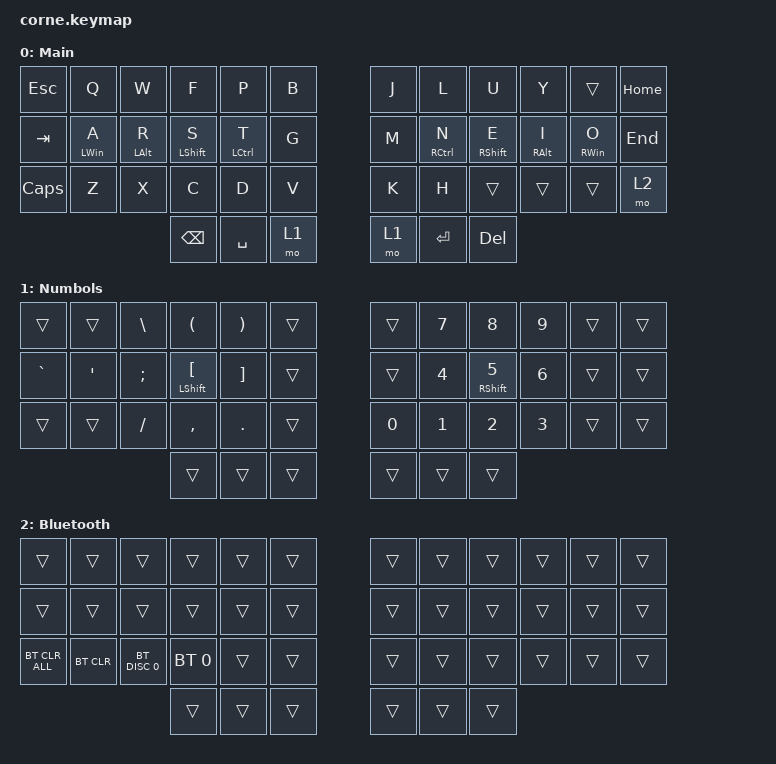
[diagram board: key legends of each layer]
/*
 * Copyright (c) 2020 The ZMK Contributors
 *
 * SPDX-License-Identifier: MIT
 */

#include <behaviors.dtsi>
#include <dt-bindings/zmk/bt.h>
#include <dt-bindings/zmk/keys.h>

/ {
    behaviors {
        hml: hml {
            compatible = "zmk,behavior-hold-tap";
            label = "HML";
            bindings = <&kp>, <&kp>;

            #binding-cells = <2>;
            flavor = "balanced";
            tapping-term-ms = <280>;
            quick-tap-ms = <175>;
            require-prior-idle-ms = <150>;
            hold-trigger-on-release;
            hold-trigger-key-positions = <36 37 38 39 40 41 5 17 29 28 16 4 3 15 27 26 14 2 1 13 25 24 12 0>;
        };

        hmr: hmr {
            compatible = "zmk,behavior-hold-tap";
            label = "HMR";
            bindings = <&kp>, <&kp>;

            #binding-cells = <2>;
            tapping-term-ms = <280>;
            quick-tap-ms = <175>;
            require-prior-idle-ms = <150>;
            flavor = "balanced";
            hold-trigger-on-release;
            hold-trigger-key-positions = <36 37 38 39 40 41 6 18 30 31 19 7 8 20 32 33 21 9 10 22 34 35 23 11>;
        };
    };

    keymap {
        compatible = "zmk,keymap";

        Main {
            // -----------------------------------------------------------------------------------------
            // |  TAB |  Q  |  W  |  E  |  R  |  T  |   |  Y  |  U   |  I  |  O  |  P  | BKSP |
            // | CTRL |  A  |  S  |  D  |  F  |  G  |   |  H  |  J   |  K  |  L  |  ;  |  '   |
            // | SHFT |  Z  |  X  |  C  |  V  |  B  |   |  N  |  M   |  ,  |  .  |  /  | ESC  |
            //                    | GUI | LWR | SPC |   | ENT | RSE  | ALT |

            bindings = <
&kp ESCAPE    &kp Q           &kp W           &kp F             &kp P               &kp B    &kp J  &kp L                &kp U              &kp Y            &trans           &kp HOME
&kp TAB       &mt LEFT_WIN A  &mt LEFT_ALT R  &mt LEFT_SHIFT S  &mt LEFT_CONTROL T  &kp G    &kp M  &mt RIGHT_CONTROL N  &mt RIGHT_SHIFT E  &mt RIGHT_ALT I  &mt RIGHT_WIN O  &kp END
&kp CAPSLOCK  &kp Z           &kp X           &kp C             &kp D               &kp V    &kp K  &kp H                &trans             &trans           &trans           &mo 2
                                              &kp BACKSPACE     &kp SPACE           &mo 1    &mo 1  &kp ENTER            &kp DELETE
            >;
        };

        Numbols {
            bindings = <
&trans     &trans            &kp BACKSLASH  &kp LEFT_PARENTHESIS         &kp RIGHT_PARENTHESIS  &trans    &trans  &kp N7  &kp N8              &kp N9  &trans  &trans
&kp GRAVE  &kp SINGLE_QUOTE  &kp SEMICOLON  &mt LEFT_SHIFT LEFT_BRACKET  &kp RIGHT_BRACKET      &trans    &trans  &kp N4  &mt RIGHT_SHIFT N5  &kp N6  &trans  &trans
&trans     &trans            &kp SLASH      &kp COMMA                    &kp PERIOD             &trans    &kp N0  &kp N1  &kp N2              &kp N3  &trans  &trans
                                            &trans                       &trans                 &trans    &trans  &trans  &trans
            >;
        };

        Bluetooth {
            bindings = <
&trans          &trans      &trans         &trans        &trans  &trans    &trans  &trans  &trans  &trans  &trans  &trans
&trans          &trans      &trans         &trans        &trans  &trans    &trans  &trans  &trans  &trans  &trans  &trans
&bt BT_CLR_ALL  &bt BT_CLR  &bt BT_DISC 0  &bt BT_SEL 0  &trans  &trans    &trans  &trans  &trans  &trans  &trans  &trans
                                           &trans        &trans  &trans    &trans  &trans  &trans
            >;
        };
    };
};
